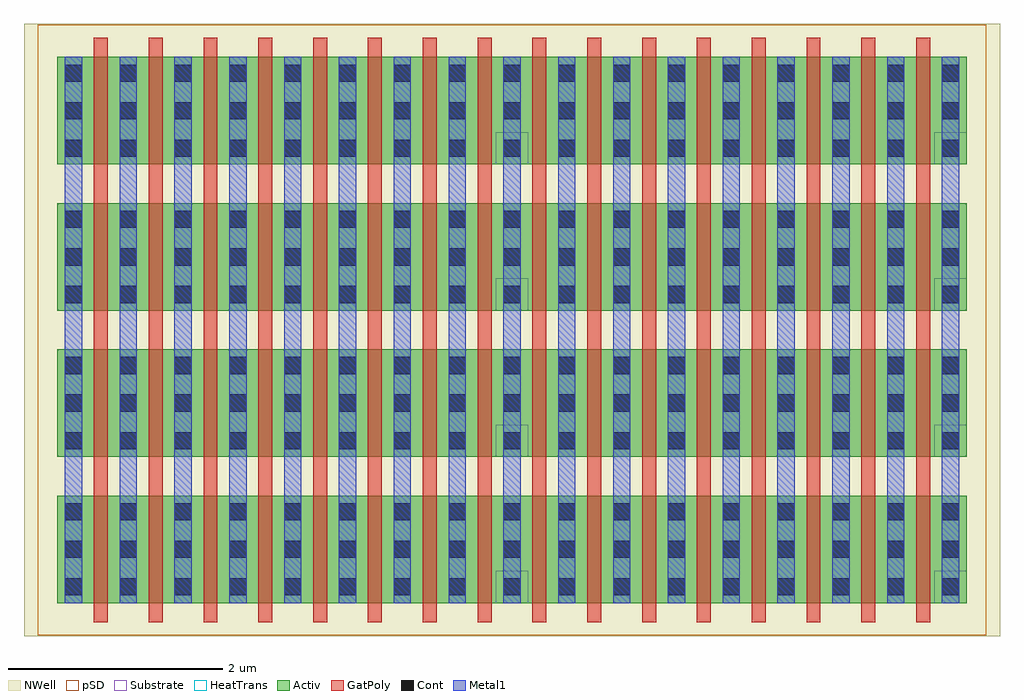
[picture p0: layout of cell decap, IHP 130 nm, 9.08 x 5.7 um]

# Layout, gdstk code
import gdstk
lib = gdstk.Library(unit=1e-6, precision=1e-09)
def R(c, l, rs):  # rectangles x0, y0, x1, y1
    for r in rs: c.add(gdstk.rectangle(r[:2], r[2:], *l))
def A(c, l, x, y, w, h, nx, ny, dx, dy):  # array of equal rectangles
    R(c, l, [(x+i*dx, y+j*dy, x+i*dx+w, y+j*dy+h) for i in range(nx) for j in range(ny)])
Activ = (1, 0)
GatPoly = (5, 0)
Cont = (6, 0)
Metal1 = (8, 0)
pSD = (14, 0)
NWell = (31, 0)
Substrate = (40, 0)
HeatTrans = (51, 0)

pmos = lib.new_cell('pmos')
A(pmos, Activ, 0, 0, 0.3, 0.3, 9, 1, 0.51, 0)
R(pmos, Activ, [(0,0,4.38,1)])
A(pmos, GatPoly, 0.34, -0.18, 0.13, 1.36, 8, 1, 0.51, 0)
R(pmos, GatPoly, [(0.34,-0.18,0.47,1.18)])
A(pmos, Cont, 0.07, 0.07, 0.16, 0.16, 9, 3, 0.51, 0.35)
A(pmos, Metal1, 0.58, 0, 0.16, 1, 8, 1, 0.51, 0)
R(pmos, Metal1, [(0.07,0,0.23,1), (0.07,0,0.23,1), (0.58,0,0.74,1)])
R(pmos, pSD, [(-0.18,-0.3,4.56,1.3)])
R(pmos, NWell, [(-0.31,-0.31,4.69,1.31)])
R(pmos, Substrate, [(4.08,0,4.38,0.3)])
A(pmos, HeatTrans, 0.34, -0.18, 0.13, 1.36, 8, 1, 0.51, 0)
pmos.add(gdstk.Label('pmos', (0.405,0.5), layer=63, texttype=0))
pmos.add(gdstk.Label('pmos', (0.405,0.5), layer=51, texttype=0))
pmos.add(gdstk.Label('pmos', (0.915,0.5), layer=51, texttype=0))
pmos.add(gdstk.Label('pmos', (1.425,0.5), layer=51, texttype=0))
pmos.add(gdstk.Label('pmos', (1.935,0.5), layer=51, texttype=0))
pmos.add(gdstk.Label('pmos', (2.445,0.5), layer=51, texttype=0))
pmos.add(gdstk.Label('pmos', (2.955,0.5), layer=51, texttype=0))
pmos.add(gdstk.Label('pmos', (3.465,0.5), layer=51, texttype=0))
pmos.add(gdstk.Label('pmos', (3.975,0.5), layer=51, texttype=0))

decap = lib.new_cell('decap')
A(decap, Metal1, 2.705, 5.075, 0.16, 0.36, 17, 3, 0.51, 1.36)
decap.add(gdstk.Reference(pmos, (2.635,8.155)))
decap.add(gdstk.Reference(pmos, (2.635,6.795)))
decap.add(gdstk.Reference(pmos, (2.635,5.435)))
decap.add(gdstk.Reference(pmos, (2.635,4.075)))
decap.add(gdstk.Reference(pmos, (6.715,8.155)))
decap.add(gdstk.Reference(pmos, (6.715,6.795)))
decap.add(gdstk.Reference(pmos, (6.715,5.435)))
decap.add(gdstk.Reference(pmos, (6.715,4.075)))

lib.write_gds('decap.gds')
